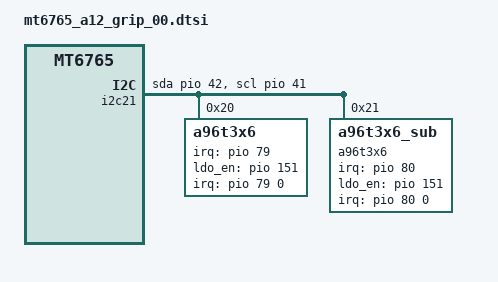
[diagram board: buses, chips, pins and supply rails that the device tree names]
/*
 * SAMSUNG board device tree source
 *
 * Copyright (c) 2019 Samsung Electronics Co., Ltd.
 *		http://www.samsung.com
 *
 * This program is free software; you can redistribute it and/or modify
 * it under the terms of the GNU General Public License version 2 as
 * published by the Free Software Foundation.
 */

&i2c21 {
	compatible = "i2c-gpio";
	gpios = <&pio 42 0 /* sda */
			&pio 41 0>; /* scl */
	i2c-gpio,delay-us = <2>;
	#address-cells = <1>;
	#size-cells = <0>;
	status = "okay";

	a96t3x6@20 {
		compatible = "a96t3x6";
		reg = <0x20>;

		pinctrl-names = "default";
		pinctrl-0 = <&grip_int>;
		interrupt-parent = <&pio>;
		interrupts = <79 0 0>;

		a96t3x6,irq_gpio = <&pio 79 0>;
		a96t3x6,ldo_en = <&pio 151 0>;
		a96t3x6,fw_path = "abov/a96t356_a12_main.bin";
		a96t3x6,firmup_cmd = <0x3b>;
	};

	a96t3x6@21 {
		compatible = "a96t3x6_sub";
		reg = <0x21>;

		pinctrl-names = "default";
		pinctrl-0 = <&grip_sub_int>;
		interrupt-parent = <&pio>;
		interrupts = <80 0 0>;

		a96t3x6,irq_gpio = <&pio 80 0>;
		a96t3x6,ldo_en = <&pio 151 0>;
		a96t3x6,fw_path = "abov/a96t356_a12_sub.bin";
		a96t3x6,firmup_cmd = <0x3b>;
	};
};

&pio {
	grip_int: grip-int {
		pins_cmd_dat {
			pinmux = <PINMUX_GPIO79__FUNC_GPIO79>;
			slew-rate = <0>;
			bias-disable;
		};
	};
	grip_sub_int: grip-sub-int {
		pins_cmd_dat {
			pinmux = <PINMUX_GPIO80__FUNC_GPIO80>;
			slew-rate = <0>;
			bias-disable;
		};
	};
};
